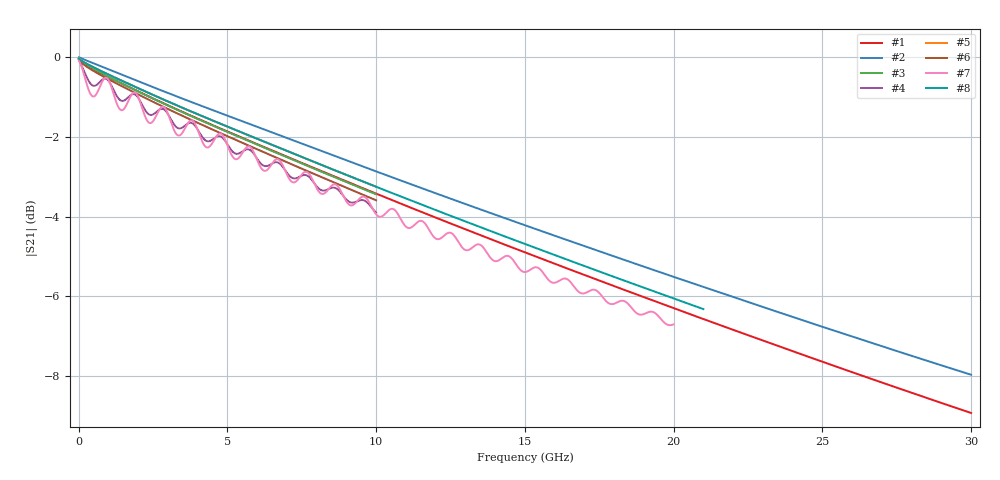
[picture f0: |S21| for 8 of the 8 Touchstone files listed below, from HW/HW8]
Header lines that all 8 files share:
! Touchstone generated by fitter/viewer
# HZ S  RI R 5.000000e+001
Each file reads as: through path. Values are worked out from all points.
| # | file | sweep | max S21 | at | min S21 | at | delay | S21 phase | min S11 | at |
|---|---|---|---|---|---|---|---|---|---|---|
| 1 | Net001.s2p | 10 MHz to 30 GHz | -0.05 dB | 10 MHz | -8.9 dB | 30 GHz | 516 ps | 75 deg at 15.02 GHz | -70.5 dB | 940.6 MHz |
| 2 | Q1Attcalc.s2p | 10 MHz to 30 GHz | 0.00 dB | 10 MHz | -8.0 dB | 30 GHz | 515 ps | 79 deg at 15.02 GHz | -68.8 dB | 940.6 MHz |
| 3 | Q2_50ohm.s2p | 10 MHz to 10 GHz | -0.04 dB | 10 MHz | -3.4 dB | 10 GHz | 520 ps | 136 deg at 5.01 GHz | -69.3 dB | 940 MHz |
| 4 | Q2_75ohm.s2p | 10 MHz to 10 GHz | -0.08 dB | 10 MHz | -3.9 dB | 10 GHz | 520 ps | 135 deg at 5.01 GHz | -36.2 dB | 10 MHz |
| 5 | Q2_morewidth.s2p | 10 MHz to 10 GHz | -0.03 dB | 10 MHz | -3.3 dB | 10 GHz | 519 ps | 137 deg at 5.01 GHz | -72.0 dB | 940 MHz |
| 6 | Q2_width.s2p | 10 MHz to 10 GHz | -0.06 dB | 10 MHz | -3.6 dB | 10 GHz | 520 ps | 136 deg at 5.01 GHz | -68.6 dB | 940 MHz |
| 7 | Q3Att75ohm.s2p | 10 MHz to 20 GHz | -0.08 dB | 10 MHz | -6.7 dB | 19.88 GHz | 517 ps | -76 deg at 10.01 GHz | -34.7 dB | 10 MHz |
| 8 | Q3Att.s2p | 10 MHz to 21 GHz | -0.03 dB | 10 MHz | -6.3 dB | 21 GHz | 517 ps | -167 deg at 10.51 GHz | -72.2 dB | 944.5 MHz |
